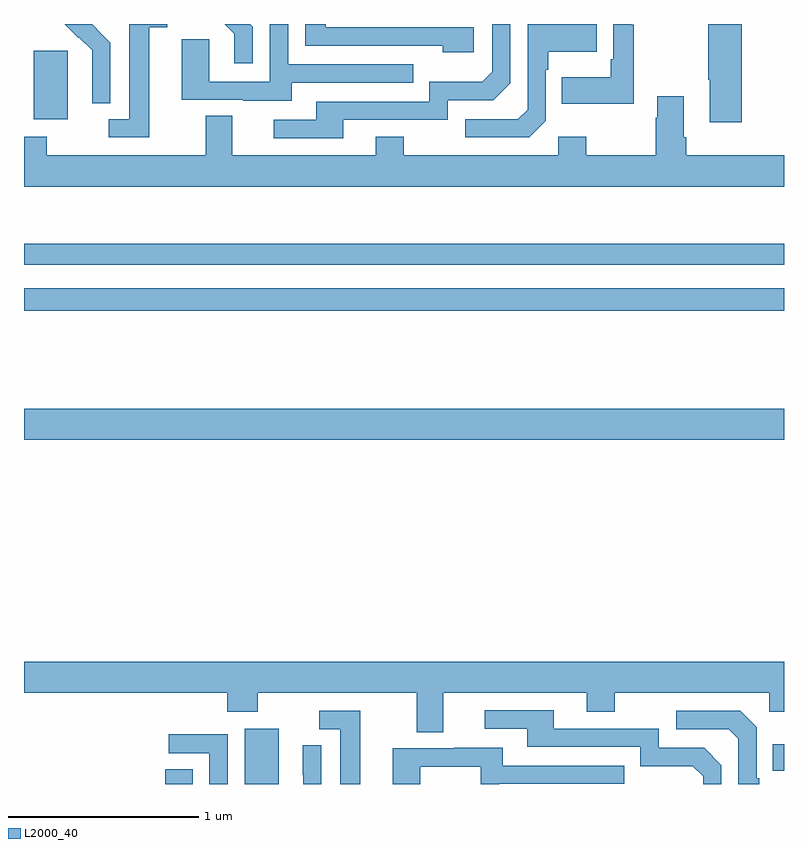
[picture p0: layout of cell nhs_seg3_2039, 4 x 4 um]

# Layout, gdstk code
import gdstk
lib = gdstk.Library(unit=1e-6, precision=1e-09)
def R(c, l, rs):  # rectangles x0, y0, x1, y1
    for r in rs: c.add(gdstk.rectangle(r[:2], r[2:], *l))
def P(c, l, *ps):  # polygons
    for p in ps: c.add(gdstk.Polygon(p, *l))
L2000_40 = (2000, 40)

nhs_seg3_2039 = lib.new_cell('nhs_seg3_2039')
R(nhs_seg3_2039, L2000_40, [(215.744,736.4,215.887,736.478), (216.161,736.4,216.34,736.69), (218.941,736.469,219,736.609), (215,738.212,219,738.376), (215,738.892,219,739.008), (215,739.134,219,739.243), (215.051,739.898,215.23,740.259)])
P(nhs_seg3_2039, L2000_40, [(217.746,739.89),(217.746,740.159),(217.759,740.159),(217.759,740.255),(218.015,740.255),(218.015,740.4),(217.65,740.4),(217.65,739.95),(217.599,739.899),(217.323,739.899),(217.323,739.803),(217.659,739.803)],
  [(215.659,740.384),(215.755,740.384),(215.755,740.4),(215.555,740.4),(215.555,739.899),(215.445,739.899),(215.445,739.803),(215.659,739.803)],
  [(218.777,740.4),(218.602,740.4),(218.602,740.107),(218.609,740.107),(218.609,739.884),(218.777,739.884)],
  [(216.409,740.091),(217.049,740.091),(217.049,740.187),(216.39,740.187),(216.39,740.4),(216.294,740.4),(216.294,740.097),(215.976,740.097),(215.976,740.321),(215.831,740.321),(215.831,740.001),(216.155,740.001),(216.155,739.997),(216.409,739.997)],
  [(218.209,740.395),(218.197,740.395),(218.197,740.4),(218.1,740.4),(218.1,740.215),(218.088,740.215),(218.088,740.119),(217.831,740.119),(217.831,739.979),(218.209,739.979)],
  [(217.366,740.382),(216.589,740.382),(216.589,740.4),(216.48,740.4),(216.48,740.286),(217.205,740.286),(217.205,740.252),(217.366,740.252)],
  [(215.454,740.302),(215.381,740.375),(215.382,740.376),(215.358,740.4),(215.214,740.4),(215.286,740.328),(215.289,740.331),(215.36,740.261),(215.36,740.138),(215.358,740.138),(215.358,739.984),(215.454,739.984)],
  [(216.679,739.896),(217.23,739.896),(217.23,739.998),(217.47,739.998),(217.56,740.088),(217.56,740.4),(217.464,740.4),(217.464,740.148),(217.411,740.095),(217.134,740.095),(217.134,739.992),(216.539,739.992),(216.539,739.896),(216.315,739.896),(216.315,739.8),(216.679,739.8)],
  [(216.204,740.386),(216.19,740.4),(216.056,740.4),(216.107,740.349),(216.107,740.193),(216.204,740.193)],
  [(219,739.708),(218.486,739.708),(218.486,739.804),(218.473,739.804),(218.473,740.02),(218.333,740.02),(218.333,739.907),(218.326,739.907),(218.326,739.708),(217.959,739.708),(217.959,739.807),(217.812,739.807),(217.812,739.708),(216.999,739.708),(216.999,739.807),(216.851,739.807),(216.851,739.708),(216.097,739.708),(216.097,739.916),(215.957,739.916),(215.957,739.708),(215.121,739.708),(215.121,739.807),(215,739.807),(215,739.544),(219,739.544)],
  [(217.207,736.88),(217.961,736.88),(217.961,736.781),(218.109,736.781),(218.109,736.88),(218.922,736.88),(218.922,736.781),(219,736.781),(219,737.044),(215,737.044),(215,736.88),(216.071,736.88),(216.071,736.781),(216.231,736.781),(216.231,736.88),(217.067,736.88),(217.067,736.672),(217.207,736.672)],
  [(218.67,736.5),(218.58,736.59),(218.34,736.59),(218.34,736.692),(217.789,736.692),(217.789,736.788),(217.425,736.788),(217.425,736.692),(217.649,736.692),(217.649,736.596),(218.244,736.596),(218.244,736.493),(218.521,736.493),(218.574,736.44),(218.574,736.4),(218.67,736.4)],
  [(218.869,736.429),(218.856,736.429),(218.856,736.698),(218.769,736.785),(218.433,736.785),(218.433,736.689),(218.709,736.689),(218.76,736.638),(218.76,736.4),(218.869,736.4)],
  [(216.769,736.785),(216.555,736.785),(216.555,736.689),(216.665,736.689),(216.665,736.4),(216.769,736.4)],
  [(216.072,736.662),(215.763,736.662),(215.763,736.563),(215.976,736.563),(215.976,736.4),(216.072,736.4)],
  [(216.564,736.604),(216.468,736.604),(216.468,736.45),(216.47,736.45),(216.47,736.4),(216.564,736.4)],
  [(217.086,736.491),(217.404,736.491),(217.404,736.4),(217.5,736.4),(217.5,736.401),(218.159,736.401),(218.159,736.497),(217.519,736.497),(217.519,736.591),(217.265,736.591),(217.265,736.587),(216.941,736.587),(216.941,736.4),(217.086,736.4)])

lib.write_gds('nhs_seg3_2039.gds')
